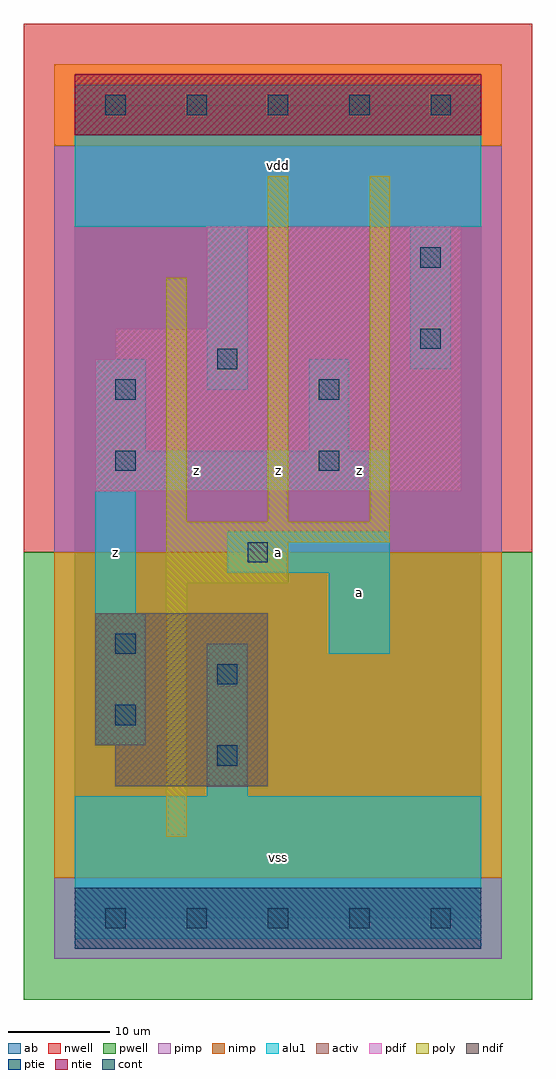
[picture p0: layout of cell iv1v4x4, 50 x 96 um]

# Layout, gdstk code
import gdstk
lib = gdstk.Library(unit=1e-6, precision=1e-09)
def R(c, l, rs):  # rectangles x0, y0, x1, y1
    for r in rs: c.add(gdstk.rectangle(r[:2], r[2:], *l))
def A(c, l, x, y, w, h, nx, ny, dx, dy):  # array of equal rectangles
    R(c, l, [(x+i*dx, y+j*dy, x+i*dx+w, y+j*dy+h) for i in range(nx) for j in range(ny)])
ndif = (3, 0)
pdif = (4, 0)
ntie = (5, 0)
ptie = (6, 0)
cont = (25, 0)
pwell = (41, 0)
nwell = (42, 0)
activ = (43, 0)
pimp = (44, 0)
nimp = (45, 0)
poly = (46, 0)
alu1 = (49, 0)
ab = (63, 0)

iv1v4x4 = lib.new_cell('iv1v4x4')
R(iv1v4x4, ndif, [(4,13,19,17), (2,17,19,30)])
R(iv1v4x4, pdif, [(2,42,38,55), (4,55,38,58), (13,58,38,68)])
R(iv1v4x4, ntie, [(0,77,40,83)])
R(iv1v4x4, ptie, [(0,-3,40,3)])
A(iv1v4x4, cont, 3, -1, 2, 2, 5, 2, 8, 80)
R(iv1v4x4, cont, [(14,15,16,17), (4,19,6,21), (14,23,16,25), (4,26,6,28), (17,35,19,37), (4,44,6,46), (24,44,26,46), (4,51,6,53), (24,51,26,53), (14,54,16,56), (34,56,36,58), (34,64,36,66)])
R(iv1v4x4, pwell, [(-5,-8,45,36)])
R(iv1v4x4, nwell, [(-5,36,45,88)])
R(iv1v4x4, activ, [(0,-3,40,3), (4,13,19,17), (2,17,19,30), (2,42,38,55), (4,55,38,58), (13,58,38,68), (0,77,40,83)])
R(iv1v4x4, pimp, [(-2,-4,42,4), (-2,36,42,76)])
R(iv1v4x4, nimp, [(-2,4,42,36), (-2,76,42,84)])
R(iv1v4x4, poly, [(9,8,11,33), (9,33,21,37), (9,37,31,39), (9,39,11,63), (19,39,21,73), (29,39,31,73)])
R(iv1v4x4, alu1, [(0,-2,40,12), (13,12,17,27), (2,17,7,30), (25,26,31,34), (2,30,6,42), (15,34,31,38), (2,42,31,46), (2,46,7,55), (23,46,27,55), (13,52,17,68), (33,54,37,68), (0,68,40,82)])
R(iv1v4x4, ab, [(0,0,40,80)])
iv1v4x4.add(gdstk.Label('z', (4,36), layer=49, texttype=0))
iv1v4x4.add(gdstk.Label('z', (12,44), layer=49, texttype=0))
iv1v4x4.add(gdstk.Label('vss', (20,6), layer=49, texttype=0))
iv1v4x4.add(gdstk.Label('a', (20,36), layer=49, texttype=0))
iv1v4x4.add(gdstk.Label('a', (28,32), layer=49, texttype=0))
iv1v4x4.add(gdstk.Label('z', (28,44), layer=49, texttype=0))
iv1v4x4.add(gdstk.Label('z', (20,44), layer=49, texttype=0))
iv1v4x4.add(gdstk.Label('vdd', (20,74), layer=49, texttype=0))

lib.write_gds('iv1v4x4.gds')
